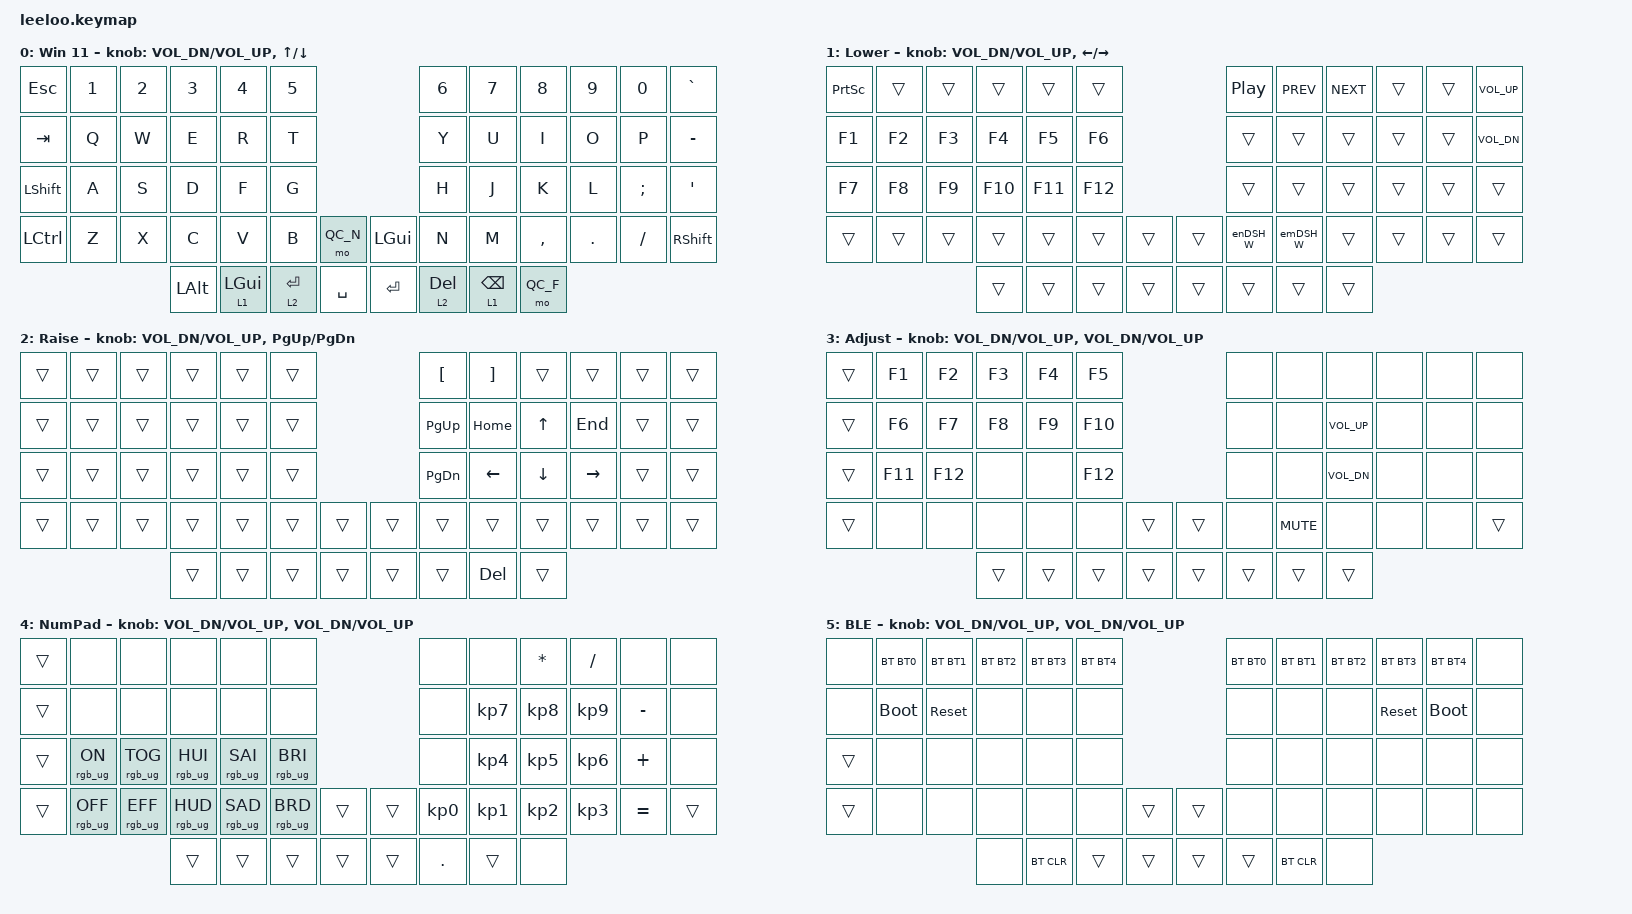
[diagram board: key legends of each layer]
/*
 * Copyright (c) 2023 The ZMK Contributors
 *
 * SPDX-License-Identifier: MIT
 */
#include <behaviors.dtsi>
#include <dt-bindings/zmk/outputs.h>
#include <dt-bindings/zmk/keys.h>
#include <dt-bindings/zmk/bt.h>
#include <dt-bindings/zmk/rgb.h>

// Layers
#define QW_M    0       // Main
#define QW_L    1       // Lower
#define QW_R    2       // Raise
#define QW_A    3       // Adjust

#define QC_N    4       // Number Pad
#define QC_F    5       // Firmware


// Short versions
#define WIN_SC  LG(LS(S))

#define BT0     BT_SEL 0
#define BT1     BT_SEL 1
#define BT2     BT_SEL 2
#define BT3     BT_SEL 3
#define BT4     BT_SEL 4

#define BOOTLDR     &bootloader

#define VOLUP   C_VOL_UP
#define VOLDN   C_VOL_DN
#define VOLMT   C_MUTE

#define RGBON   &rgb_ug RGB_ON
#define RGBOFF  &rgb_ug RGB_OFF
#define RGBTOG  &rgb_ug RGB_TOG
#define RGBHUI  &rgb_ug RGB_HUI
#define RGBHUD  &rgb_ug RGB_HUD
#define RGBSAI  &rgb_ug RGB_SAI
#define RGBSAD  &rgb_ug RGB_SAD
#define RGBBRI  &rgb_ug RGB_BRI
#define RGBBRD  &rgb_ug RGB_BRD
#define RGBEFF  &rgb_ug RGB_EFF


/*
 * Assign the cs-gpios pin to 4.
 * Uncomment these next few lines if implementing nice!view Displays
 */
nice_view_spi: &spi0 {
    cs-gpios = <&pro_micro 4 GPIO_ACTIVE_HIGH>;
};


/ {
    conditional_layers {
        compatible = "zmk,conditional-layers";
        adjust_win_layer {
            if-layers = <1 2>;
            then-layer = <3>;
        };
    };


    combos {
        compatible = "zmk,combos";

      //  combo_quit_app_win {
      //      timeout-ms = <50>;
      //      key-positions = <13 14>;
      //      layers = <QW_M>;
      //      bindings = <&kp LA(F4)>;
      //  };
    };

    macros {
        enDSH_W: en_Dash {
            compatible = "zmk,behavior-macro";
            #binding-cells = <0>;
            wait-ms = <20>;
            tap-ms = <20>;
            bindings
                = <&macro_press   &kp LALT>
                , <&macro_tap     &kp KP_N0 &kp KP_N1 &kp KP_N5 &kp KP_N0>
                , <&macro_release &kp LALT>
                ;
        };

        emDSH_W: em_Dash {
            compatible = "zmk,behavior-macro";
            #binding-cells = <0>;
            wait-ms = <20>;
            tap-ms = <20>;
            bindings
                = <&macro_press   &kp LALT>
                , <&macro_tap     &kp KP_N0 &kp KP_N1 &kp KP_N5 &kp KP_N1>
                , <&macro_release &kp LALT>
                ;
        };
    };

    behaviors {
        tdw_Q: tap_dance_1 {
            compatible = "zmk,behavior-tap-dance";
            #binding-cells = <0>;
            tapping-term-ms = <200>;
            bindings = <&kp Q>, <&kp LA(F4)>;
        };

        tdw_LRP: tap_dance_2 {
            compatible = "zmk,behavior-tap-dance";
            #binding-cells = <0>;
            tapping-term-ms = <200>;
            bindings = <&kp LPAR>, <&kp RPAR>;
        };

        tdx_LRB: tap_dance_3 {
            compatible = "zmk,behavior-tap-dance";
            #binding-cells = <0>;
            tapping-term-ms = <200>;
            bindings = <&kp LBKT>, <&kp RBKT>;
        };

        tdx_LRR: tap_dance_4 {
            compatible = "zmk,behavior-tap-dance";
            #binding-cells = <0>;
            tapping-term-ms = <200>;
            bindings = <&kp LBRC>, <&kp RBRC>;
        };

        tdx_LRA: tap_dance_5 {
            compatible = "zmk,behavior-tap-dance";
            #binding-cells = <0>;
            tapping-term-ms = <200>;
            bindings = <&kp LT>, <&kp GT>;
        };
    };

    keymap {
        compatible = "zmk,keymap";

        default_win_layer {
            display-name = "Win 11";
            bindings = <
&kp ESC    &kp N1     &kp N2     &kp N3     &kp N4     &kp N5                           &kp N6     &kp N7     &kp N8     &kp N9     &kp N0     &kp GRAV
&kp TAB    &kp Q      &kp W      &kp E      &kp R      &kp T                            &kp Y      &kp U      &kp I      &kp O      &kp P      &kp MINUS
&kp LSHFT  &kp A      &kp S      &kp D      &kp F      &kp G                            &kp H      &kp J      &kp K      &kp L      &kp SEMI   &kp SQT
&kp LCTRL  &kp Z      &kp X      &kp C      &kp V      &kp B    &mo QC_N    &kp LGUI    &kp N      &kp M      &kp COMMA  &kp DOT    &kp FSLH   &kp RSHFT
                              &kp LALT &lt 1 LGUI   &lt 2 RET  &kp SPACE     &kp RET   &lt 2 DEL  &lt 1 BSPC   &mo QC_F
            >;

            sensor-bindings = <&inc_dec_kp C_VOL_DN C_VOL_UP &inc_dec_kp UP DOWN>;
        };

        lower_win_layer {
            display-name = "Lower";
            bindings = <
&kp PSCRN  &trans     &trans     &trans     &trans     &trans                           &kp C_PP   &kp C_PREV &kp C_NEXT &trans     &trans     &kp VOLUP
&kp F1     &kp F2     &kp F3     &kp F4     &kp F5     &kp F6                           &trans     &trans     &trans     &trans     &trans     &kp VOLDN
&kp F7     &kp F8     &kp F9     &kp F10    &kp F11    &kp F12                          &trans     &trans     &trans     &trans     &trans     &trans
&trans     &trans     &trans     &trans     &trans     &trans     &trans      &trans    &enDSH_W   &emDSH_W   &trans     &trans     &trans     &trans
                                 &trans     &trans     &trans     &trans      &trans    &trans     &trans     &trans
            >;

            sensor-bindings = <&inc_dec_kp C_VOL_DN C_VOL_UP &inc_dec_kp LEFT RIGHT>;
        };

        raise_win_layer {
            display-name = "Raise";
            bindings = <
&trans     &trans     &trans     &trans     &trans     &trans                           &kp LBKT   &kp RBKT   &trans     &trans     &trans     &trans
&trans     &trans     &trans     &trans     &trans     &trans                           &kp PG_UP  &kp HOME   &kp UP     &kp END    &trans     &trans
&trans     &trans     &trans     &trans     &trans     &trans                           &kp PG_DN  &kp LEFT   &kp DOWN   &kp RIGHT  &trans     &trans
&trans     &trans     &trans     &trans     &trans     &trans     &trans      &trans    &trans     &trans     &trans     &trans     &trans     &trans
                                 &trans     &trans     &trans     &trans      &trans    &trans     &kp DEL    &trans
            >;

            sensor-bindings = <&inc_dec_kp C_VOL_DN C_VOL_UP &inc_dec_kp PG_UP PG_DN>;
        };

        adjust_win_layer {
            display-name = "Adjust";
            bindings = <
&trans     &kp F1     &kp F2     &kp F3     &kp F4     &kp F5                           &none      &none      &none      &none      &none      &none
&trans     &kp F6     &kp F7     &kp F8     &kp F9     &kp F10                          &none      &none      &kp VOLUP  &none      &none      &none
&trans     &kp F11    &kp F12    &none      &none      &kp F12                          &none      &none      &kp VOLDN  &none      &none      &none 
&trans     &none      &none      &none      &none      &none      &trans      &trans    &none      &kp VOLMT  &none      &none      &none      &trans
                                 &trans     &trans     &trans     &trans      &trans    &trans     &trans     &trans
            >;

            sensor-bindings = <&inc_dec_kp C_VOL_DN C_VOL_UP &inc_dec_kp C_VOL_DN C_VOL_UP>;
        };

        numpad_layer {
            display-name = "NumPad";
            bindings = <
&trans      &none     &none      &none      &none      &none                            &none      &none      &kp ASTRK  &kp SLASH  &none      &none 
&trans      &none     &none      &none      &none      &none                            &none      &kp KP_N7  &kp KP_N8  &kp KP_N9  &kp MINUS  &none 
&trans      RGBON     RGBTOG     RGBHUI     RGBSAI     RGBBRI                           &none      &kp KP_N4  &kp KP_N5  &kp KP_N6  &kp PLUS   &none 
&trans      RGBOFF    RGBEFF     RGBHUD     RGBSAD     RGBBRD     &trans      &trans    &kp KP_N0  &kp KP_N1  &kp KP_N2  &kp KP_N3  &kp EQUAL  &trans
                                 &trans     &trans     &trans     &trans      &trans    &kp DOT    &trans     &none 
            >;

            sensor-bindings = <&inc_dec_kp C_VOL_DN C_VOL_UP &inc_dec_kp C_VOL_DN C_VOL_UP>;
        };

        firmware_layer {
            display-name = "BLE";
            bindings = <
&none       &bt BT0   &bt BT1    &bt BT2    &bt BT3    &bt BT4                          &bt BT0    &bt BT1    &bt BT2    &bt BT3    &bt BT4    &none 
&none       BOOTLDR   &sys_reset &none      &none      &none                            &none      &none      &none      &sys_reset BOOTLDR    &none
&trans      &none     &none      &none      &none      &none                            &none      &none      &none      &none      &none      &none
&trans      &none     &none      &none      &none      &none      &trans      &trans    &none      &none      &none      &none      &none      &none
                                 &none      &bt BT_CLR &trans     &trans      &trans    &trans     &bt BT_CLR &none 
            >;

            sensor-bindings = <&inc_dec_kp C_VOL_DN C_VOL_UP &inc_dec_kp C_VOL_DN C_VOL_UP>;
        };
    };
};
